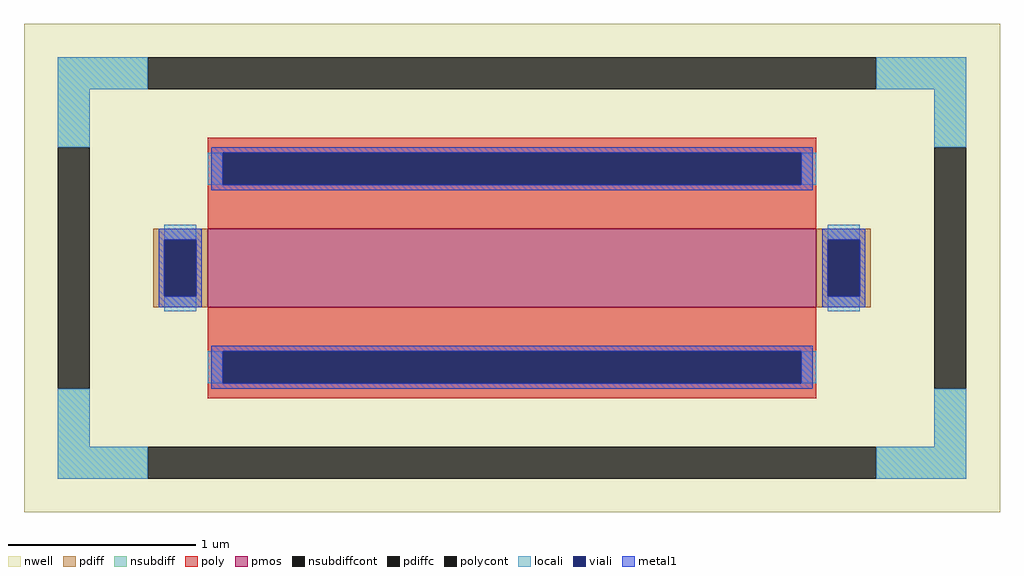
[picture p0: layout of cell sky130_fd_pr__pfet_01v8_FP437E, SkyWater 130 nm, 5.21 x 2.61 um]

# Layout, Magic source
magic
tech sky130A
magscale 1 2
<< nwell >>
rect -521 -261 521 261
<< pmos >>
rect -325 -42 325 42
<< pdiff >>
rect -383 30 -325 42
rect -383 -30 -371 30
rect -337 -30 -325 30
rect -383 -42 -325 -30
rect 325 30 383 42
rect 325 -30 337 30
rect 371 -30 383 30
rect 325 -42 383 -30
<< pdiffc >>
rect -371 -30 -337 30
rect 337 -30 371 30
<< nsubdiff >>
rect -485 191 -389 225
rect 389 191 485 225
rect -485 129 -451 191
rect 451 129 485 191
rect -485 -191 -451 -129
rect 451 -191 485 -129
rect -485 -225 -389 -191
rect 389 -225 485 -191
<< nsubdiffcont >>
rect -389 191 389 225
rect -485 -129 -451 129
rect 451 -129 485 129
rect -389 -225 389 -191
<< poly >>
rect -325 123 325 139
rect -325 89 -309 123
rect 309 89 325 123
rect -325 42 325 89
rect -325 -89 325 -42
rect -325 -123 -309 -89
rect 309 -123 325 -89
rect -325 -139 325 -123
<< polycont >>
rect -309 89 309 123
rect -309 -123 309 -89
<< locali >>
rect -485 191 -389 225
rect 389 191 485 225
rect -485 129 -451 191
rect 451 129 485 191
rect -325 89 -309 123
rect 309 89 325 123
rect -371 30 -337 46
rect -371 -46 -337 -30
rect 337 30 371 46
rect 337 -46 371 -30
rect -325 -123 -309 -89
rect 309 -123 325 -89
rect -485 -191 -451 -129
rect 451 -191 485 -129
rect -485 -225 -389 -191
rect 389 -225 485 -191
<< viali >>
rect -309 89 309 123
rect -371 -30 -337 30
rect 337 -30 371 30
rect -309 -123 309 -89
<< metal1 >>
rect -321 123 321 129
rect -321 89 -309 123
rect 309 89 321 123
rect -321 83 321 89
rect -377 30 -331 42
rect -377 -30 -371 30
rect -337 -30 -331 30
rect -377 -42 -331 -30
rect 331 30 377 42
rect 331 -30 337 30
rect 371 -30 377 30
rect 331 -42 377 -30
rect -321 -89 321 -83
rect -321 -123 -309 -89
rect 309 -123 321 -89
rect -321 -129 321 -123
<< properties >>
string FIXED_BBOX -468 -208 468 208
string gencell sky130_fd_pr__pfet_01v8
string library sky130
string parameters w 0.42 l 3.25 m 1 nf 1 diffcov 100 polycov 100 guard 1 glc 1 grc 1 gtc 1 gbc 1 tbcov 100 rlcov 100 topc 1 botc 1 poverlap 0 doverlap 1 lmin 0.15 wmin 0.42 compatible {sky130_fd_pr__pfet_01v8  sky130_fd_pr__pfet_01v8_lvt sky130_fd_pr__pfet_01v8_hvt  sky130_fd_pr__pfet_g5v0d10v5} full_metal 1 viasrc 100 viadrn 100 viagate 100 viagb 0 viagr 0 viagl 0 viagt 0
<< end >>
